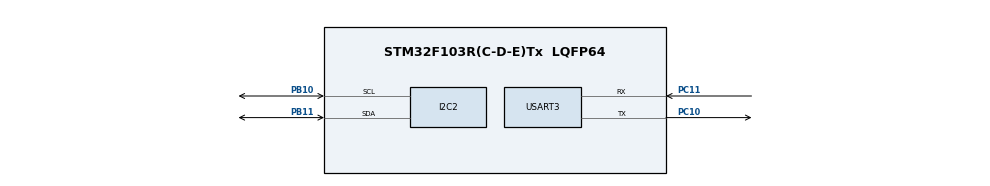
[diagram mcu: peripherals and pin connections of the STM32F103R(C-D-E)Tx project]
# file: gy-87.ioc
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I2C2.I2C_Mode=I2C_Fast
Mcu.Family=STM32F1
Mcu.Name=STM32F103R(C-D-E)Tx
Mcu.Package=LQFP64
NVIC.PriorityGroup=NVIC_PRIORITYGROUP_4
PA13.Mode=Serial_Wire
PA13.Signal=SYS_JTMS-SWDIO
PA14.Mode=Serial_Wire
PA14.Signal=SYS_JTCK-SWCLK
PB10.Mode=I2C
PB10.Signal=I2C2_SCL
PB11.Mode=I2C
PB11.Signal=I2C2_SDA
PC10.Mode=Asynchronous
PC10.Signal=USART3_TX
PC11.Mode=Asynchronous
PC11.Signal=USART3_RX
PD0-OSC_IN.Mode=HSE-External-Oscillator
PD0-OSC_IN.Signal=RCC_OSC_IN
PD1-OSC_OUT.Mode=HSE-External-Oscillator
PD1-OSC_OUT.Signal=RCC_OSC_OUT
ProjectManager.HeapSize=0x200
ProjectManager.StackSize=0x400
ProjectManager.TargetToolchain=SW4STM32
RCC.APB1Freq_Value=8000000
RCC.APB2Freq_Value=8000000
USART3.VirtualMode=VM_ASYNC
board=custom

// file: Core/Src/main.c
/* USER CODE BEGIN Header */
/**
  ******************************************************************************
  * @file           : main.c
  * @brief          : Main program body
  ******************************************************************************
  * @attention
  *
  * <h2><center>&copy; Copyright (c) 2022 STMicroelectronics.
  * All rights reserved.</center></h2>
  *
  * This software component is licensed by ST under BSD 3-Clause license,
  * the "License"; You may not use this file except in compliance with the
  * License. You may obtain a copy of the License at:
  *                        opensource.org/licenses/BSD-3-Clause
  *
  ******************************************************************************
  */
/* USER CODE END Header */
#include "main.h"
#include "i2c.h"
#include "usart.h"
#include "gpio.h"

/* USER CODE BEGIN Includes */
#include "mpu6050.h"
#include "hmc5883l.h"
#include "bmp180.h"
#include "retarget.h"
/* USER CODE END Includes */

/* USER CODE BEGIN PV */
MPU6050_t mpu6050;
HMC5883L_t hmc5883l;
BMP180_t bmp180;
/* USER CODE END PV */

void SystemClock_Config(void);

int main(void) {

    /* MCU Configuration--------------------------------------------------------*/

    /* Reset of all peripherals, Initializes the Flash interface and the Systick. */
    HAL_Init();

    /* USER CODE BEGIN Init */
    HAL_Delay(100);
    /* USER CODE END Init */

    /* Configure the system clock */
    SystemClock_Config();

    /* Initialize all configured peripherals */
    MX_GPIO_Init();
    MX_I2C2_Init();
    MX_USART3_UART_Init();
    /* USER CODE BEGIN 2 */
    MPU6050_Init(&hi2c2);
    HMC5883L_Init(&hi2c2);
    hmc5883l.Magnet_X_offset = (-385 + 350) / 2;
    hmc5883l.Magnet_Y_offset = (-20 - 720) / 2;
    hmc5883l.Magnet_Z_offset = 0;
    BMP180_init(&hi2c2);
    RetargetInit(&huart3);
    /* USER CODE END 2 */

    /* Infinite loop */
    /* USER CODE BEGIN WHILE */
    while (1) {
        MPU6050_Read_All(&hi2c2, &mpu6050);
        HMC5883L_Read_All(&hi2c2, &hmc5883l);
        BMP180_read_all(&bmp180);
        printf("%d,%d,%d,%d,%d,%d,%d\n", (int) mpu6050.KalmanAngleX, hmc5883l.Magnet_X_Calib, hmc5883l.Magnet_Y_Calib,
               hmc5883l.Magnet_Z_Calib, (int) hmc5883l.degree, bmp180.pressure, bmp180.temperature);

        HAL_Delay(100);
        /* USER CODE END WHILE */

    }
}

void SystemClock_Config(void) {
    RCC_OscInitTypeDef RCC_OscInitStruct = {0};
    RCC_ClkInitTypeDef RCC_ClkInitStruct = {0};

    /** Initializes the RCC Oscillators according to the specified parameters
    * in the RCC_OscInitTypeDef structure.
    */
    RCC_OscInitStruct.OscillatorType = RCC_OSCILLATORTYPE_HSI;
    RCC_OscInitStruct.HSIState = RCC_HSI_ON;
    RCC_OscInitStruct.HSICalibrationValue = RCC_HSICALIBRATION_DEFAULT;
    RCC_OscInitStruct.PLL.PLLState = RCC_PLL_NONE;
    if (HAL_RCC_OscConfig(&RCC_OscInitStruct) != HAL_OK) {
        Error_Handler();
    }
    /** Initializes the CPU, AHB and APB buses clocks
    */
    RCC_ClkInitStruct.ClockType = RCC_CLOCKTYPE_HCLK | RCC_CLOCKTYPE_SYSCLK
                                  | RCC_CLOCKTYPE_PCLK1 | RCC_CLOCKTYPE_PCLK2;
    RCC_ClkInitStruct.SYSCLKSource = RCC_SYSCLKSOURCE_HSI;
    RCC_ClkInitStruct.AHBCLKDivider = RCC_SYSCLK_DIV1;
    RCC_ClkInitStruct.APB1CLKDivider = RCC_HCLK_DIV1;
    RCC_ClkInitStruct.APB2CLKDivider = RCC_HCLK_DIV1;

    if (HAL_RCC_ClockConfig(&RCC_ClkInitStruct, FLASH_LATENCY_0) != HAL_OK) {
        Error_Handler();
    }
}

void Error_Handler(void) {
    __disable_irq();
    while (1) {
    }
}

/************************ (C) COPYRIGHT STMicroelectronics *****END OF FILE****/
